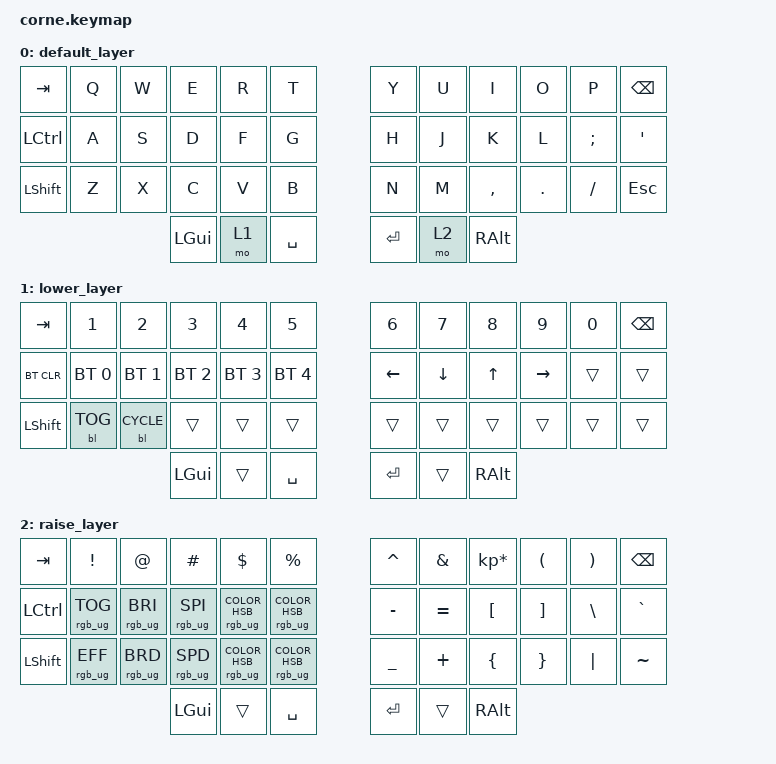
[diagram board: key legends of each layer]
/*
 * Copyright (c) 2020 The ZMK Contributors
 *
 * SPDX-License-Identifier: MIT
 */

#include <behaviors.dtsi>
#include <../boards/shields/corne/boards/nice_nano.overlay>
#include <dt-bindings/zmk/keys.h>
#include <dt-bindings/zmk/bt.h>
#include <dt-bindings/zmk/backlight.h>
#include <dt-bindings/zmk/rgb.h>

/ {
    keymap {
        compatible = "zmk,keymap";

        default_layer {
            // -----------------------------------------------------------------------------------------
            // |  TAB |  Q  |  W  |  E  |  R  |  T  |   |  Y  |  U   |  I  |  O  |  P  | BKSP |
            // | CTRL |  A  |  S  |  D  |  F  |  G  |   |  H  |  J   |  K  |  L  |  ;  |  '   |
            // | SHFT |  Z  |  X  |  C  |  V  |  B  |   |  N  |  M   |  ,  |  .  |  /  | ESC  |
            //                    | GUI | LWR | SPC |   | ENT | RSE  | ALT |

            bindings = <
  &kp TAB  &kp Q  &kp W     &kp E  &kp R      &kp T    &kp Y  &kp U      &kp I    &kp O     &kp P  &kp BSPC
&kp LCTRL  &kp A  &kp S     &kp D  &kp F      &kp G    &kp H  &kp J      &kp K    &kp L  &kp SEMI   &kp SQT
&kp LSHFT  &kp Z  &kp X     &kp C  &kp V      &kp B    &kp N  &kp M  &kp COMMA  &kp DOT  &kp FSLH   &kp ESC
                         &kp LGUI  &mo 1  &kp SPACE  &kp RET  &mo 2   &kp RALT
            >;
        };

        lower_layer {
            // -----------------------------------------------------------------------------------------
            // |  TAB |  1  |  2  |  3  |  4  |  5  |   |  6  |  7  |  8  |  9  |  0  | BKSP |
            // | BTCLR| BT1 | BT2 | BT3 | BT4 | BT5 |   | LFT | DWN |  UP | RGT |     |      |
            // | SHFT |     |     |     |     |     |   |     |     |     |     |     |      |
            //                    | GUI |     | SPC |   | ENT |     | ALT |

            bindings = <
   &kp TAB        &kp N1        &kp N2        &kp N3        &kp N4        &kp N5    &kp N6    &kp N7    &kp N8     &kp N9  &kp N0  &kp BSPC
&bt BT_CLR  &bt BT_SEL 0  &bt BT_SEL 1  &bt BT_SEL 2  &bt BT_SEL 3  &bt BT_SEL 4  &kp LEFT  &kp DOWN    &kp UP  &kp RIGHT  &trans    &trans
 &kp LSHFT    &bl BL_TOG  &bl BL_CYCLE        &trans        &trans        &trans    &trans    &trans    &trans     &trans  &trans    &trans
                                            &kp LGUI        &trans     &kp SPACE   &kp RET    &trans  &kp RALT
            >;
        };

        raise_layer {
            // -----------------------------------------------------------------------------------------
            // |  TAB |  !  |  @  |  #  |  $  |  %  |   |  ^  |  &  |  *  |  (  |  )  | BKSP |
            // | CTRL |     |     |     |     |     |   |  -  |  =  |  [  |  ]  |  \  |  `   |
            // | SHFT |     |     |     |     |     |   |  _  |  +  |  {  |  }  | "|" |  ~   |
            //                    | GUI |     | SPC |   | ENT |     | ALT |

            bindings = <
  &kp TAB         &kp EXCL           &kp AT         &kp HASH                          &kp DLLR                         &kp PRCNT  &kp CARET   &kp AMPS  &kp KP_MULTIPLY  &kp LPAR  &kp RPAR   &kp BSPC
&kp LCTRL  &rgb_ug RGB_TOG  &rgb_ug RGB_BRI  &rgb_ug RGB_SPI  &rgb_ug RGB_COLOR_HSB(359,97,49)   &rgb_ug RGB_COLOR_HSB(0,100,99)  &kp MINUS  &kp EQUAL         &kp LBKT  &kp RBKT  &kp BSLH  &kp GRAVE
&kp LSHFT  &rgb_ug RGB_EFF  &rgb_ug RGB_BRD  &rgb_ug RGB_SPD   &rgb_ug RGB_COLOR_HSB(54,88,61)  &rgb_ug RGB_COLOR_HSB(300,92,61)  &kp UNDER   &kp PLUS         &kp LBRC  &kp RBRC  &kp PIPE  &kp TILDE
                                                    &kp LGUI                            &trans                         &kp SPACE    &kp RET     &trans         &kp RALT
            >;
        };
    };
};
